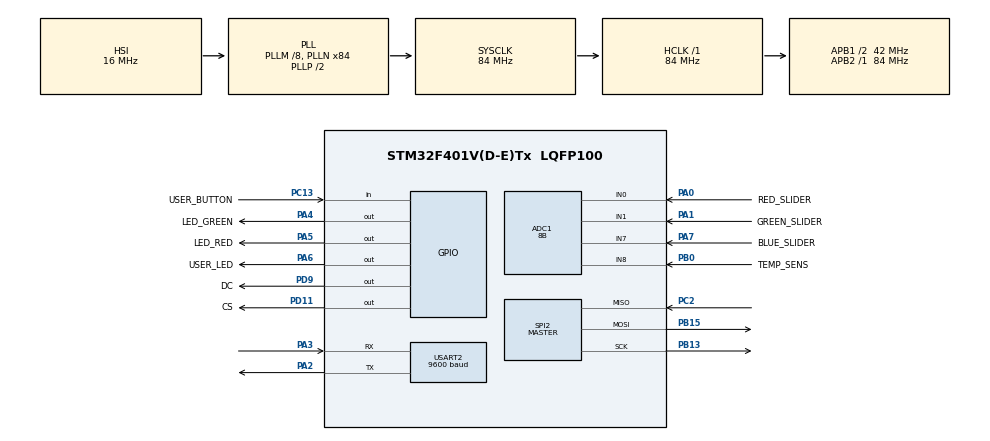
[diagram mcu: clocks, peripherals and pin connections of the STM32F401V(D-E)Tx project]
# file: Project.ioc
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ADC1.Channel-0\#ChannelRegularConversion=ADC_CHANNEL_0
ADC1.ClockPrescaler=ADC_CLOCK_SYNC_PCLK_DIV8
ADC1.DMAContinuousRequests=DISABLE
ADC1.EOCSelection=ADC_EOC_SINGLE_CONV
ADC1.ExternalTrigConv=ADC_SOFTWARE_START
ADC1.NbrOfConversion=1
ADC1.NbrOfConversionFlag=1
ADC1.Rank-0\#ChannelRegularConversion=1
ADC1.Resolution=ADC_RESOLUTION_8B
ADC1.SamplingTime-0\#ChannelRegularConversion=ADC_SAMPLETIME_28CYCLES
ADC1.ScanConvMode=DISABLE
ADC1.master=1
Mcu.Family=STM32F4
Mcu.Name=STM32F401V(D-E)Tx
Mcu.Package=LQFP100
NVIC.ADC_IRQn=true\:0\:0\:false\:false\:true\:true\:true\:true
NVIC.PriorityGroup=NVIC_PRIORITYGROUP_4
NVIC.USART2_IRQn=true\:0\:0\:false\:false\:true\:true\:true\:true
PA0-WKUP.GPIO_Label=RED_SLIDER
PA0-WKUP.Signal=ADCx_IN0
PA1.GPIO_Label=GREEN_SLIDER
PA1.Signal=ADCx_IN1
PA13.Mode=Serial_Wire
PA13.Signal=SYS_JTMS-SWDIO
PA14.Mode=Serial_Wire
PA14.Signal=SYS_JTCK-SWCLK
PA2.Mode=Asynchronous
PA2.Signal=USART2_TX
PA3.Mode=Asynchronous
PA3.Signal=USART2_RX
PA4.GPIO_Label=LED_GREEN
PA4.Signal=GPIO_Output
PA5.GPIO_Label=LED_RED
PA5.Signal=GPIO_Output
PA6.GPIO_Label=USER_LED
PA6.Signal=GPIO_Output
PA7.GPIO_Label=BLUE_SLIDER
PA7.Signal=ADCx_IN7
PB0.GPIO_Label=TEMP_SENS
PB0.Signal=ADCx_IN8
PB13.Mode=Full_Duplex_Master
PB13.Signal=SPI2_SCK
PB15.Mode=Full_Duplex_Master
PB15.Signal=SPI2_MOSI
PC13-ANTI_TAMP.GPIO_Label=USER_BUTTON
PC13-ANTI_TAMP.Signal=GPIO_Input
PC2.Mode=Full_Duplex_Master
PC2.Signal=SPI2_MISO
PD11.GPIO_Label=CS
PD11.PinState=GPIO_PIN_SET
PD11.Signal=GPIO_Output
PD9.GPIO_Label=DC
PD9.GPIO_Speed=GPIO_SPEED_FREQ_LOW
PD9.PinState=GPIO_PIN_SET
PD9.Signal=GPIO_Output
PH0\ -\ OSC_IN.Mode=HSE-External-Oscillator
PH0\ -\ OSC_IN.Signal=RCC_OSC_IN
PH1\ -\ OSC_OUT.Mode=HSE-External-Oscillator
PH1\ -\ OSC_OUT.Signal=RCC_OSC_OUT
ProjectManager.HeapSize=0x200
ProjectManager.StackSize=0xC00
ProjectManager.TargetToolchain=STM32CubeIDE
RCC.48MHZClocksFreq_Value=42000000
RCC.AHBFreq_Value=84000000
RCC.APB1CLKDivider=RCC_HCLK_DIV2
RCC.APB1Freq_Value=42000000
RCC.APB1TimFreq_Value=84000000
RCC.APB2Freq_Value=84000000
RCC.APB2TimFreq_Value=84000000
RCC.CortexFreq_Value=84000000
RCC.HCLKFreq_Value=84000000
RCC.HSE_VALUE=8000000
RCC.HSI_VALUE=16000000
RCC.LSE_VALUE=32768
RCC.PLLM=8
RCC.PLLN=84
RCC.SYSCLKFreq_VALUE=84000000
RCC.SYSCLKSource=RCC_SYSCLKSOURCE_PLLCLK
RCC.VCOOutputFreq_Value=168000000
SH.ADCx_IN0.0=ADC1_IN0,IN0
SH.ADCx_IN1.0=ADC1_IN1,IN1
SH.ADCx_IN7.0=ADC1_IN7,IN7
SH.ADCx_IN8.0=ADC1_IN8,IN8
SPI2.Direction=SPI_DIRECTION_2LINES
SPI2.Mode=SPI_MODE_MASTER
SPI2.VirtualType=VM_MASTER
USART2.BaudRate=9600
USART2.VirtualMode=VM_ASYNC
board=custom

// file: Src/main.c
/* USER CODE BEGIN Header */
/**
  ******************************************************************************
  * @file           : main.c
  * @brief          : Main program body
  ******************************************************************************
  * @attention
  *
  * Copyright (c) 2022 STMicroelectronics.
  * All rights reserved.
  *
  * This software is licensed under terms that can be found in the LICENSE file
  * in the root directory of this software component.
  * If no LICENSE file comes with this software, it is provided AS-IS.
  *
  ******************************************************************************
  */
/* USER CODE END Header */
#include "main.h"

/* USER CODE BEGIN Includes */
#include "tft.h"
#include "lv_conf.h"
#include "lvgl/lvgl.h"

#include "lvgl/examples/lv_examples.h"
#include "display_mng.h"
/* USER CODE END Includes */

/* USER CODE BEGIN PTD */
typedef enum _ADC_Index_e
{
  SLIDER_ADC_IDX_0 = 0,
  SLIDER_ADC_IDX_1,
  SLIDER_ADC_IDX_2,
  TEMP_ADC_IDX,
  SLIDER_ADC_IDX_MAX = TEMP_ADC_IDX,
  ADC_IDX_MAX,
} ADC_Index_e;
/* USER CODE END PTD */

/* USER CODE BEGIN PD */
#define DEBUG_BUFFER_SIZE         (50u)
#define RED_SLIDER_IDX            (0u)
#define GREEN_SLIDER_IDX          (1u)
#define BLUE_SLIDER_IDX           (2u)

#define LED_1_TASK_TIME           (1000u) /* In milliseconds */
#define LED_2_TASK_TIME           (1000u) /* In milliseconds */
#define LVGL_TASK_TIME            (5u)    /* In milliseconds */
#define DISP_MNG_TASK_TIME        (100u)  /* In milliseconds */
#define TRIG_ADC_CONV_TASK_TIME   (100u)  /* In milliseconds */
#define DEBUG_PRINT_TASK_TIME     (1000u) /* In milliseconds */
/* USER CODE END PD */

ADC_HandleTypeDef hadc1;

SPI_HandleTypeDef hspi2;

UART_HandleTypeDef huart2;

/* USER CODE BEGIN PV */
static uint8_t led_1_state = FALSE;
static uint8_t led_2_state = FALSE;
static uint32_t led_1_timestamp = 0u;
static uint32_t led_2_timestamp = 0u;
static uint32_t lvgl_timestamp = 0u;
static uint32_t disp_mng_timestamp = 0u;
static uint32_t trig_adc_conv_timestamp = 0u;
static uint32_t debug_print_timestamp = 0u;

static uint8_t adc_data[ADC_IDX_MAX] = { 0x00 };
static uint8_t adc_data_idx = SLIDER_ADC_IDX_0;
static uint8_t adc_busy = FALSE;
// ADC Triggering Task Time is 100ms, this means that to get 1 second counts
// we need to store 10 samples which are 100ms apart from each other
static uint8_t temp_sensor[10u] = { 0x00 };
static uint8_t temp_sensor_idx = 0u;
// the above samples are averaged and stored in the below array
static uint8_t temp_sensor_1sec[260] = { 0 };   // 320-60
static uint16_t temp_sensor_1sec_idx = 0u;

uint16_t dbg_size = 0u;
char dbg_buffer[DEBUG_BUFFER_SIZE] = { 0 };
/* USER CODE END PV */

void SystemClock_Config(void);
static void MX_GPIO_Init(void);
static void MX_USART2_UART_Init(void);
static void MX_SPI2_Init(void);
static void MX_ADC1_Init(void);

int main(void)
{
  /* USER CODE BEGIN 1 */
  uint32_t idx = 0u;
  uint32_t temp = 0u;
  /* USER CODE END 1 */

  /* MCU Configuration--------------------------------------------------------*/

  /* Reset of all peripherals, Initializes the Flash interface and the Systick. */
  HAL_Init();

  /* Configure the system clock */
  SystemClock_Config();

  /* Initialize all configured peripherals */
  MX_GPIO_Init();
  MX_USART2_UART_Init();
  MX_SPI2_Init();
  MX_ADC1_Init();
  /* USER CODE BEGIN 2 */
  HAL_Delay(10);
//  uint16_t data_temp[4] = {0x0123, 0x4567, 0x89AB, 0xCDEF};
//  ILI9341_Send_16BitDataSW(data_temp, 4u);
//
//  ILI9341_16BitDataModeEnable();
//  ILI9341_Send_16BitDataHW(data_temp, 4u);
//  ILI9341_16BitDataModeDisable();
//  while(1);
  lv_init();
  TFT_Init();
  // HAL_Delay(10);
  // lv_example_get_started_1();
  // lv_example_label_1();
  HAL_ADC_Start_IT(&hadc1);

  led_1_state = FALSE;
  led_2_state = FALSE;

  lvgl_timestamp = HAL_GetTick();
  led_1_timestamp = HAL_GetTick();
  led_2_timestamp = HAL_GetTick();
  trig_adc_conv_timestamp = HAL_GetTick();
  debug_print_timestamp = HAL_GetTick();
  /* USER CODE END 2 */

  /* Infinite loop */
  /* USER CODE BEGIN WHILE */
  while (1)
  {
    /* Task for Triggering ADC Conversion Start */
    if( HAL_GetTick() - trig_adc_conv_timestamp > TRIG_ADC_CONV_TASK_TIME )
    {
      trig_adc_conv_timestamp = HAL_GetTick();
      if( adc_busy == TRUE )
      {
        // memset( dbg_buffer, 0x00, DEBUG_BUFFER_SIZE );
        // dbg_size = snprintf(dbg_buffer, DEBUG_BUFFER_SIZE, "Red = %d, Green = %d, Blue = %d \r\n", adc_data[0], adc_data[1], adc_data[2] );
        // dbg_size = snprintf(dbg_buffer, DEBUG_BUFFER_SIZE, "Temp.=%d, Idx=%d, millis=%ld\r\n", adc_data[3], temp_sensor_idx, HAL_GetTick() );
        // HAL_UART_Transmit(&huart2, (uint8_t*)dbg_buffer, dbg_size, 1000u);

        if( temp_sensor_idx < 10u )
        {
          // store the data in buffer
          temp_sensor[temp_sensor_idx] = adc_data[3];
          temp_sensor_idx++;
          // this means that 1 second is elapsed and the buffer is full now
          if( temp_sensor_idx >= 10u )
          {
            // reset the counter
            temp_sensor_idx = 0u;
            // now average the samples and store in 1 second array
            temp = 0u;
            // cumulative sum
            for( idx=0; idx<10u; idx++ )
            {
              temp = temp + temp_sensor[idx];
            }
            // averaging
            temp = temp/10u;
            if( temp_sensor_1sec_idx < 260u )
            {
              // convert data to temperature and store in array
              temp = (uint8_t)((uint16_t)((uint16_t)temp * (uint16_t)330)/255);
              temp_sensor_1sec[temp_sensor_1sec_idx] = (uint8_t)(temp);
              memset( dbg_buffer, 0x00, DEBUG_BUFFER_SIZE );
              dbg_size = snprintf(dbg_buffer, DEBUG_BUFFER_SIZE, "Index = %d, Temperature = %ld\r\n", temp_sensor_1sec_idx, temp );
              HAL_UART_Transmit(&huart2, (uint8_t*)dbg_buffer, dbg_size, 1000u);
              temp_sensor_1sec_idx++;
              if( temp_sensor_1sec_idx >= 260u )
              {
                // reset the index if buffer is full
                temp_sensor_1sec_idx = 0u;
              }
            }
          }
        }

        adc_busy = FALSE;
        // Trigger Conversion Again
        HAL_ADC_Start_IT(&hadc1);
      }
      else
      {
        // memset( dbg_buffer, 0x00, DEBUG_BUFFER_SIZE );
        // dbg_size = snprintf(dbg_buffer, DEBUG_BUFFER_SIZE, "%s\r\n", "ADC Busy Shouldn't Happen" );
        // HAL_UART_Transmit(&huart2, (uint8_t*)dbg_buffer, dbg_size, 1000u);
      }
    }

    /* Task for Printing debug information */
    if( HAL_GetTick() - debug_print_timestamp > DEBUG_PRINT_TASK_TIME )
    {
      debug_print_timestamp = HAL_GetTick();
      // TODO: XS for future
    }

    /* Task Display Manager */
    if( HAL_GetTick() - disp_mng_timestamp > DISP_MNG_TASK_TIME )
    {
      disp_mng_timestamp = HAL_GetTick();
      // memset( dbg_buffer, 0x00, DEBUG_BUFFER_SIZE );
      Display_Mng();
      // dbg_size = snprintf(dbg_buffer, DEBUG_BUFFER_SIZE, "Display Mng Time=%ld\r\n", HAL_GetTick() - disp_mng_timestamp );
      // HAL_UART_Transmit(&huart2, (uint8_t*)dbg_buffer, dbg_size, 1000u);
    }

    /* Task for LVGL */
    if( HAL_GetTick() - lvgl_timestamp > LVGL_TASK_TIME )
    {
      lvgl_timestamp = HAL_GetTick();
      lv_timer_handler();
    }

    /* Task for Led 1 */
    if( HAL_GetTick() - led_1_timestamp > LED_1_TASK_TIME )
    {
      led_1_timestamp = HAL_GetTick();
      if( led_1_state )
      {
        led_1_state = FALSE;
        /* Setting Pin High will turn off the Led */
        HAL_GPIO_WritePin( LED_RED_GPIO_Port, LED_RED_Pin, GPIO_PIN_RESET );
      }
      else
      {
        led_1_state = TRUE;
        /* Setting Pin Low will turn on the Led */
        HAL_GPIO_WritePin( LED_RED_GPIO_Port, LED_RED_Pin, GPIO_PIN_SET );
      }
    }
    /* Task for Led 2 */
    if( HAL_GetTick() - led_2_timestamp > LED_2_TASK_TIME )
    {
      led_2_timestamp = HAL_GetTick();
      if( led_2_state )
      {
        led_2_state = FALSE;
        /* Setting Pin High will turn off the Led */
        HAL_GPIO_WritePin( LED_GREEN_GPIO_Port, LED_GREEN_Pin, GPIO_PIN_RESET );
      }
      else
      {
        led_2_state = TRUE;
        /* Setting Pin Low will turn on the Led */
        HAL_GPIO_WritePin( LED_GREEN_GPIO_Port, LED_GREEN_Pin, GPIO_PIN_SET );
      }
    }
    /* USER CODE END WHILE */

  }
}

void SystemClock_Config(void)
{
  RCC_OscInitTypeDef RCC_OscInitStruct = {0};
  RCC_ClkInitTypeDef RCC_ClkInitStruct = {0};

  /** Configure the main internal regulator output voltage
  */
  __HAL_RCC_PWR_CLK_ENABLE();
  __HAL_PWR_VOLTAGESCALING_CONFIG(PWR_REGULATOR_VOLTAGE_SCALE2);

  /** Initializes the RCC Oscillators according to the specified parameters
  * in the RCC_OscInitTypeDef structure.
  */
  RCC_OscInitStruct.OscillatorType = RCC_OSCILLATORTYPE_HSI;
  RCC_OscInitStruct.HSIState = RCC_HSI_ON;
  RCC_OscInitStruct.HSICalibrationValue = RCC_HSICALIBRATION_DEFAULT;
  RCC_OscInitStruct.PLL.PLLState = RCC_PLL_ON;
  RCC_OscInitStruct.PLL.PLLSource = RCC_PLLSOURCE_HSI;
  RCC_OscInitStruct.PLL.PLLM = 8;
  RCC_OscInitStruct.PLL.PLLN = 84;
  RCC_OscInitStruct.PLL.PLLP = RCC_PLLP_DIV2;
  RCC_OscInitStruct.PLL.PLLQ = 4;
  if (HAL_RCC_OscConfig(&RCC_OscInitStruct) != HAL_OK)
  {
    Error_Handler();
  }

  /** Initializes the CPU, AHB and APB buses clocks
  */
  RCC_ClkInitStruct.ClockType = RCC_CLOCKTYPE_HCLK|RCC_CLOCKTYPE_SYSCLK
                              |RCC_CLOCKTYPE_PCLK1|RCC_CLOCKTYPE_PCLK2;
  RCC_ClkInitStruct.SYSCLKSource = RCC_SYSCLKSOURCE_PLLCLK;
  RCC_ClkInitStruct.AHBCLKDivider = RCC_SYSCLK_DIV1;
  RCC_ClkInitStruct.APB1CLKDivider = RCC_HCLK_DIV2;
  RCC_ClkInitStruct.APB2CLKDivider = RCC_HCLK_DIV1;

  if (HAL_RCC_ClockConfig(&RCC_ClkInitStruct, FLASH_LATENCY_2) != HAL_OK)
  {
    Error_Handler();
  }
}

static void MX_ADC1_Init(void)
{

  ADC_ChannelConfTypeDef sConfig = {0};

  /** Configure the global features of the ADC (Clock, Resolution, Data Alignment and number of conversion)
  */
  hadc1.Instance = ADC1;
  hadc1.Init.ClockPrescaler = ADC_CLOCK_SYNC_PCLK_DIV8;
  hadc1.Init.Resolution = ADC_RESOLUTION_8B;
  hadc1.Init.ScanConvMode = DISABLE;
  hadc1.Init.ContinuousConvMode = DISABLE;
  hadc1.Init.DiscontinuousConvMode = DISABLE;
  hadc1.Init.ExternalTrigConvEdge = ADC_EXTERNALTRIGCONVEDGE_NONE;
  hadc1.Init.ExternalTrigConv = ADC_SOFTWARE_START;
  hadc1.Init.DataAlign = ADC_DATAALIGN_RIGHT;
  hadc1.Init.NbrOfConversion = 1;
  hadc1.Init.DMAContinuousRequests = DISABLE;
  hadc1.Init.EOCSelection = ADC_EOC_SINGLE_CONV;
  if (HAL_ADC_Init(&hadc1) != HAL_OK)
  {
    Error_Handler();
  }

  /** Configure for the selected ADC regular channel its corresponding rank in the sequencer and its sample time.
  */
  sConfig.Channel = ADC_CHANNEL_0;
  sConfig.Rank = 1;
  sConfig.SamplingTime = ADC_SAMPLETIME_28CYCLES;
  if (HAL_ADC_ConfigChannel(&hadc1, &sConfig) != HAL_OK)
  {
    Error_Handler();
  }

}

static void MX_SPI2_Init(void)
{

  /* SPI2 parameter configuration*/
  hspi2.Instance = SPI2;
  hspi2.Init.Mode = SPI_MODE_MASTER;
  hspi2.Init.Direction = SPI_DIRECTION_2LINES;
  hspi2.Init.DataSize = SPI_DATASIZE_8BIT;
  hspi2.Init.CLKPolarity = SPI_POLARITY_LOW;
  hspi2.Init.CLKPhase = SPI_PHASE_1EDGE;
  hspi2.Init.NSS = SPI_NSS_SOFT;
  hspi2.Init.BaudRatePrescaler = SPI_BAUDRATEPRESCALER_2;
  hspi2.Init.FirstBit = SPI_FIRSTBIT_MSB;
  hspi2.Init.TIMode = SPI_TIMODE_DISABLE;
  hspi2.Init.CRCCalculation = SPI_CRCCALCULATION_DISABLE;
  hspi2.Init.CRCPolynomial = 10;
  if (HAL_SPI_Init(&hspi2) != HAL_OK)
  {
    Error_Handler();
  }
  /* USER CODE BEGIN SPI2_Init 2 */
//
  /* USER CODE END SPI2_Init 2 */

}

static void MX_USART2_UART_Init(void)
{

  huart2.Instance = USART2;
  huart2.Init.BaudRate = 9600;
  huart2.Init.WordLength = UART_WORDLENGTH_8B;
  huart2.Init.StopBits = UART_STOPBITS_1;
  huart2.Init.Parity = UART_PARITY_NONE;
  huart2.Init.Mode = UART_MODE_TX_RX;
  huart2.Init.HwFlowCtl = UART_HWCONTROL_NONE;
  huart2.Init.OverSampling = UART_OVERSAMPLING_16;
  if (HAL_UART_Init(&huart2) != HAL_OK)
  {
    Error_Handler();
  }

}

static void MX_GPIO_Init(void)
{
  GPIO_InitTypeDef GPIO_InitStruct = {0};

  /* GPIO Ports Clock Enable */
  __HAL_RCC_GPIOC_CLK_ENABLE();
  __HAL_RCC_GPIOH_CLK_ENABLE();
  __HAL_RCC_GPIOA_CLK_ENABLE();
  __HAL_RCC_GPIOB_CLK_ENABLE();
  __HAL_RCC_GPIOD_CLK_ENABLE();

  /*Configure GPIO pin Output Level */
  HAL_GPIO_WritePin(GPIOA, LED_GREEN_Pin|LED_RED_Pin|USER_LED_Pin, GPIO_PIN_RESET);

  /*Configure GPIO pin Output Level */
  HAL_GPIO_WritePin(GPIOD, DC_Pin|CS_Pin, GPIO_PIN_SET);

  /*Configure GPIO pin : USER_BUTTON_Pin */
  GPIO_InitStruct.Pin = USER_BUTTON_Pin;
  GPIO_InitStruct.Mode = GPIO_MODE_INPUT;
  GPIO_InitStruct.Pull = GPIO_NOPULL;
  HAL_GPIO_Init(USER_BUTTON_GPIO_Port, &GPIO_InitStruct);

  /*Configure GPIO pins : LED_GREEN_Pin LED_RED_Pin USER_LED_Pin */
  GPIO_InitStruct.Pin = LED_GREEN_Pin|LED_RED_Pin|USER_LED_Pin;
  GPIO_InitStruct.Mode = GPIO_MODE_OUTPUT_PP;
  GPIO_InitStruct.Pull = GPIO_NOPULL;
  GPIO_InitStruct.Speed = GPIO_SPEED_FREQ_LOW;
  HAL_GPIO_Init(GPIOA, &GPIO_InitStruct);

  /*Configure GPIO pins : DC_Pin CS_Pin */
  GPIO_InitStruct.Pin = DC_Pin|CS_Pin;
  GPIO_InitStruct.Mode = GPIO_MODE_OUTPUT_PP;
  GPIO_InitStruct.Pull = GPIO_NOPULL;
  GPIO_InitStruct.Speed = GPIO_SPEED_FREQ_LOW;
  HAL_GPIO_Init(GPIOD, &GPIO_InitStruct);

}

/* USER CODE BEGIN 4 */
void HAL_SPI_ChangeDataSizeTo16Bit( SPI_HandleTypeDef *hspi )
{
  // If in 8-bit mode, then only change to 16-bit
  if( hspi->Init.DataSize == SPI_DATASIZE_8BIT )
  {
    // first disable SPI after checking the busy flag
    while( READ_BIT(hspi->Instance->SR, SPI_SR_BSY_Msk) );
    CLEAR_BIT(hspi->Instance->CR1, SPI_CR1_SPE_Msk );
    // set the data frame register for 16-bit mode
    hspi->Init.DataSize = SPI_DATASIZE_16BIT;
    SET_BIT(hspi->Instance->CR1, SPI_CR1_DFF_Msk );
    // enable SPI again
    SET_BIT(hspi->Instance->CR1, SPI_CR1_SPE_Msk );
  }
}

void HAL_SPI_ChangeDataSizeTo8Bit( SPI_HandleTypeDef *hspi )
{
  // If in 16-bit mode, then only change to 8-bit
  if( hspi->Init.DataSize == SPI_DATASIZE_16BIT )
  {
    // first disable SPI after checking the busy flag
    while( READ_BIT(hspi->Instance->SR, SPI_SR_BSY_Msk) );
    CLEAR_BIT(hspi->Instance->CR1, SPI_CR1_SPE_Msk );
    // clear data frame register for 8-bit mode
    hspi->Init.DataSize = SPI_DATASIZE_8BIT;
    CLEAR_BIT(hspi->Instance->CR1, SPI_CR1_DFF_Msk );
    // enable SPI again
    SET_BIT(hspi->Instance->CR1, SPI_CR1_SPE_Msk );
  }
}

/**
  * @brief  Regular conversion complete callback in non blocking mode
  * @param  hadc pointer to a ADC_HandleTypeDef structure that contains
  *         the configuration information for the specified ADC.
  * @retval None
  */
void HAL_ADC_ConvCpltCallback(ADC_HandleTypeDef* hadc)
{
  ADC_ChannelConfTypeDef adc_config = { 0 };
  // if( hadc == &hadc1)

  // Save the ADC data in the array
  if( adc_data_idx < ADC_IDX_MAX )
  {
    adc_data[adc_data_idx] = HAL_ADC_GetValue(hadc);
  }

  // Reconfigure the channel
  switch( adc_data_idx )
  {
    case SLIDER_ADC_IDX_0:
      // if 0 is configured then configure 1 next
      adc_config.Channel = ADC_CHANNEL_1;
      adc_data_idx = SLIDER_ADC_IDX_1;
      break;
    case SLIDER_ADC_IDX_1:
      adc_config.Channel = ADC_CHANNEL_7;
      adc_data_idx = SLIDER_ADC_IDX_2;
      break;
    case SLIDER_ADC_IDX_2:
      adc_config.Channel = ADC_CHANNEL_8;
      adc_data_idx = TEMP_ADC_IDX;
      break;
    case TEMP_ADC_IDX:
      adc_config.Channel = ADC_CHANNEL_0;
      adc_data_idx = SLIDER_ADC_IDX_0;
    default:
      break;
  };

  adc_config.Rank = 1;
  adc_config.SamplingTime = ADC_SAMPLETIME_28CYCLES;

  HAL_ADC_ConfigChannel(&hadc1, &adc_config);
  // this means that one cycle is completed
  if( adc_data_idx == SLIDER_ADC_IDX_0 )
  {
    // one cycle is complete and next triggering will be done from the main loop
    adc_busy = TRUE;
  }
  // if one cycle is not completed, then continue triggering the ADC conversion
  else
  {
    // triggering will be done in while loop
    HAL_ADC_Start_IT( hadc );
  }
}

uint8_t Display_GetSliderCounts( uint8_t slider_type )
{
  uint8_t slider_value = 0u;
  // Here Slider ADC IDX Max is used purposely, bcz next index is of temp sensor
  if( slider_type < SLIDER_ADC_IDX_MAX )
  {
    __disable_irq();
    // Make Sure that Slider type index must match with the ADC Channel/Data Index
    slider_value = adc_data[ slider_type ];
    __enable_irq();
  }
  return slider_value;
}

uint8_t * Display_GetTempData( void )
{
  return temp_sensor_1sec;
}
/* USER CODE END 4 */

void Error_Handler(void)
{
  __disable_irq();
  while (1)
  {
  }
}
